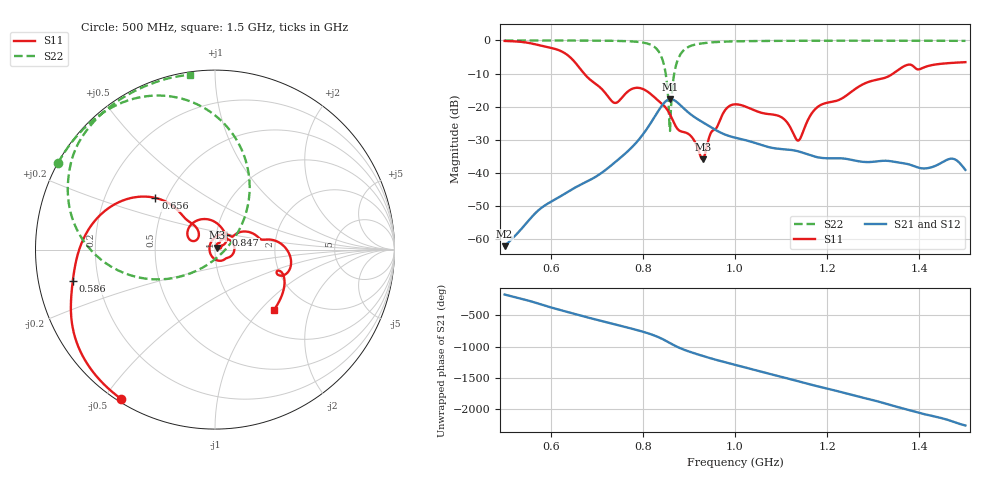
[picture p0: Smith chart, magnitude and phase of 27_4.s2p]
! TOUCHSTONE file generated by CST MICROWAVE STUDIO
! Date and time: Wed Oct 28 19:18:29 2020
! Project name: Scenario_1_Circular_Tissue_out_of_Line.cst
! Parameters = {dy1=104.866; L_HA=400; MT=2.54; Rad_Dielectric=30; Rad_Lower=7.3; Rad_Upper=30; a_HA=580; a_WG=246; b_HA=500; b_WG=121; c_HA=0; c_WG=187; d_feed=85; dx1=693; h_feed=15; h_lower=18; h_upper=40}
! Header version: 2018
! Port assignment regex: !\s*Touchstone port\s*([0-9]+)\s*=\s*(CST MWS port|CST DS port)\s*([0-9]+|Zmin|Zmax)\s*\(\"(.*)\"\)(\s*mode\s*([0-9]+))?.*
! Touchstone port assignment:
! Touchstone port 1 = CST MWS port 1 ("")
! Touchstone port 2 = CST MWS port 2 ("")
# GHz S DB R 50
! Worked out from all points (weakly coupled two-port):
!   1001 points, 500 MHz to 1.5 GHz, reference 50 ohm
!   highest |S21| = -17.73 dB at 860 MHz (marker M1); lowest = -62.1 dB at 500 MHz (marker M2)
!   lowest |S11| = -35.9 dB at 930 MHz (marker M3), VSWR 1.03, Z = 51.2 + j1.08 ohm
!   |S11| at or under -10 dB: 672.5 MHz to 1.343 GHz (670.6 MHz wide, 66.5 % of centre)
!   |S22| runs from -27.3 to 0.0 dB; largest |S21 - S12| = 0.00063
!   S11 on the Smith chart (normalised r, x): 500 MHz: 0.01, -0.55; 586 MHz: 0.10, -0.11; 656 MHz: 0.43, +0.31; 847 MHz: 1.11, +0.18; 1.5 GHz: 1.38, -1.19
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0.5  -0.15 -122.3  -62.13 -168.8  -62.13 -168.8  -0.01 151.1
0.586  -1.81 -167.5  -49.94 18.0  -49.94 18.0  -0.02 145.2
0.656  -7.14 139.0  -44.21 -126.4  -44.21 -126.4  -0.04 139.4
0.667  -9.07 134.4  -43.42 -148.3  -43.42 -148.3  -0.04 138.4
0.738  -18.83 144.5  -36.99 80.7  -36.99 80.7  -0.12 129.7
0.779  -14.49 141.8  -31.87 1.8  -31.87 1.8  -0.32 120.7
0.834  -18.22 70.5  -21.19 -128.2  -21.19 -128.2  -3.27 84.3
0.847  -19.87 53.3  -18.74 -174.2  -18.74 -174.2  -8.09 60.6
0.856  -21.61 39.8  -17.83 149.8  -17.83 149.8  -19.81 24.6
0.86  -22.66 34.7  -17.73 133.5  -17.73 133.5  -23.96 -99.9
0.869  -25.31 29.0  -18.13 98.2  -18.13 98.2  -9.33 -151.0
0.88  -27.29 31.7  -19.35 60.2  -19.35 60.2  -4.58 -171.0
0.93  -35.94 41.3  -24.72 -66.6  -24.72 -66.6  -0.86 154.5
0.949  -27.60 61.4  -26.31 -108.4  -26.31 -108.4  -0.59 149.4
1  -19.29 7.8  -29.36 152.0  -29.36 152.0  -0.27 140.4
1.1  -23.12 -62.9  -32.79 -38.5  -32.79 -38.5  -0.13 129.8
1.136  -30.23 -168.9  -33.44 -109.6  -33.44 -109.6  -0.11 126.7
1.167  -21.93 78.0  -34.83 -168.9  -34.84 -168.9  -0.10 124.3
1.334  -10.78 11.2  -36.40 -121.7  -36.38 -121.7  -0.09 111.5
1.412  -8.04 -19.1  -38.65 83.6  -38.67 83.9  -0.10 105.4
1.471  -6.78 -38.0  -35.70 -28.2  -35.63 -30.3  -0.12 100.5
1.5  -6.56 -45.6  -39.10 -94.2  -39.09 -94.2  -0.13 98.0
